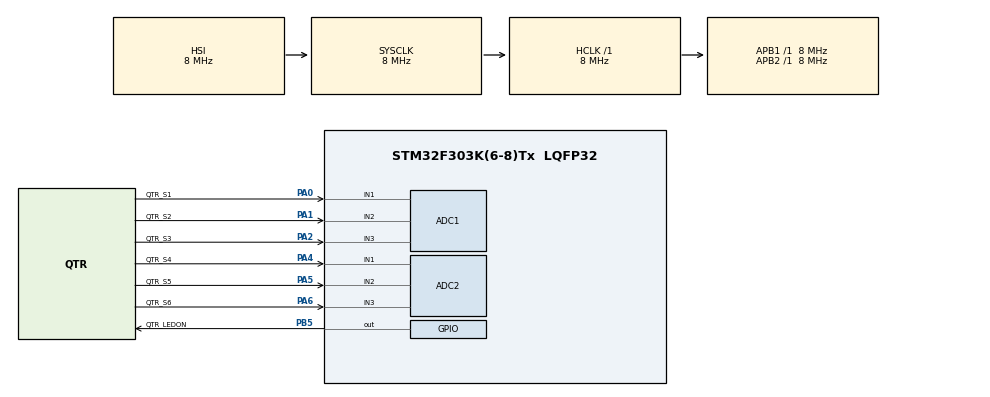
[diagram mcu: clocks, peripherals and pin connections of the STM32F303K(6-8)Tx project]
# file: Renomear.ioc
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ADC1.Channel-0\#ChannelRegularConversion=ADC_CHANNEL_1
ADC1.Channel-1\#ChannelRegularConversion=ADC_CHANNEL_2
ADC1.Channel-4\#ChannelRegularConversion=ADC_CHANNEL_3
ADC1.ClockPrescaler=ADC_CLOCK_ASYNC_DIV1
ADC1.DMAContinuousRequests=ENABLE
ADC1.EOCSelection=ADC_EOC_SEQ_CONV
ADC1.ExternalTrigConv=ADC_EXTERNALTRIGCONV_T2_TRGO
ADC1.InjNumberOfConversion=0
ADC1.NbrOfConversion=3
ADC1.NbrOfConversionFlag=1
ADC1.Offset-0\#ChannelRegularConversion=0
ADC1.Offset-1\#ChannelRegularConversion=0
ADC1.Offset-4\#ChannelRegularConversion=0
ADC1.OffsetNumber-0\#ChannelRegularConversion=ADC_OFFSET_NONE
ADC1.OffsetNumber-1\#ChannelRegularConversion=ADC_OFFSET_NONE
ADC1.OffsetNumber-4\#ChannelRegularConversion=ADC_OFFSET_NONE
ADC1.Rank-0\#ChannelRegularConversion=1
ADC1.Rank-1\#ChannelRegularConversion=2
ADC1.Rank-4\#ChannelRegularConversion=3
ADC1.SamplingTime-0\#ChannelRegularConversion=ADC_SAMPLETIME_181CYCLES_5
ADC1.SamplingTime-1\#ChannelRegularConversion=ADC_SAMPLETIME_181CYCLES_5
ADC1.SamplingTime-4\#ChannelRegularConversion=ADC_SAMPLETIME_181CYCLES_5
ADC1.SubFamily=STM32F303x8
ADC1.master=1
ADC2.Channel-0\#ChannelRegularConversion=ADC_CHANNEL_1
ADC2.Channel-1\#ChannelRegularConversion=ADC_CHANNEL_2
ADC2.Channel-5\#ChannelRegularConversion=ADC_CHANNEL_3
ADC2.DMAContinuousRequests=ENABLE
ADC2.EOCSelection=ADC_EOC_SEQ_CONV
ADC2.ExternalTrigConv=ADC_EXTERNALTRIGCONV_T2_TRGO
ADC2.NbrOfConversion=3
ADC2.NbrOfConversionFlag=1
ADC2.Offset-0\#ChannelRegularConversion=0
ADC2.Offset-1\#ChannelRegularConversion=0
ADC2.Offset-5\#ChannelRegularConversion=0
ADC2.OffsetNumber-0\#ChannelRegularConversion=ADC_OFFSET_NONE
ADC2.OffsetNumber-1\#ChannelRegularConversion=ADC_OFFSET_NONE
ADC2.OffsetNumber-5\#ChannelRegularConversion=ADC_OFFSET_NONE
ADC2.Rank-0\#ChannelRegularConversion=1
ADC2.Rank-1\#ChannelRegularConversion=2
ADC2.Rank-5\#ChannelRegularConversion=3
ADC2.SamplingTime-0\#ChannelRegularConversion=ADC_SAMPLETIME_181CYCLES_5
ADC2.SamplingTime-1\#ChannelRegularConversion=ADC_SAMPLETIME_181CYCLES_5
ADC2.SamplingTime-5\#ChannelRegularConversion=ADC_SAMPLETIME_181CYCLES_5
ADC2.SubFamily=STM32F303x8
Dma.ADC1.0.Direction=DMA_PERIPH_TO_MEMORY
Dma.ADC1.0.Instance=DMA1_Channel1
Dma.ADC1.0.MemDataAlignment=DMA_MDATAALIGN_WORD
Dma.ADC1.0.MemInc=DMA_MINC_ENABLE
Dma.ADC1.0.Mode=DMA_CIRCULAR
Dma.ADC1.0.PeriphDataAlignment=DMA_PDATAALIGN_WORD
Dma.ADC1.0.PeriphInc=DMA_PINC_DISABLE
Dma.ADC1.0.Priority=DMA_PRIORITY_LOW
Dma.ADC2.1.Direction=DMA_PERIPH_TO_MEMORY
Dma.ADC2.1.Instance=DMA1_Channel2
Dma.ADC2.1.MemDataAlignment=DMA_MDATAALIGN_WORD
Dma.ADC2.1.MemInc=DMA_MINC_ENABLE
Dma.ADC2.1.Mode=DMA_CIRCULAR
Dma.ADC2.1.PeriphDataAlignment=DMA_PDATAALIGN_WORD
Dma.ADC2.1.PeriphInc=DMA_PINC_DISABLE
Dma.ADC2.1.Priority=DMA_PRIORITY_LOW
Dma.Request0=ADC1
Dma.Request1=ADC2
Mcu.Family=STM32F3
Mcu.Name=STM32F303K(6-8)Tx
Mcu.Package=LQFP32
NVIC.ADC1_2_IRQn=true\:0\:0\:false\:false\:true\:true\:true
NVIC.DMA1_Channel1_IRQn=true\:0\:0\:false\:false\:true\:false\:true
NVIC.DMA1_Channel2_IRQn=true\:0\:0\:false\:false\:true\:false\:true
NVIC.PriorityGroup=NVIC_PRIORITYGROUP_4
PA0.GPIO_Label=QTR_S1
PA0.Mode=IN1-Single-Ended
PA0.Signal=ADC1_IN1
PA1.GPIO_Label=QTR_S2
PA1.Mode=IN2-Single-Ended
PA1.Signal=ADC1_IN2
PA2.GPIO_Label=QTR_S3
PA2.Mode=IN3-Single-Ended
PA2.Signal=ADC1_IN3
PA4.GPIO_Label=QTR_S4
PA4.Mode=IN1-Single-Ended
PA4.Signal=ADC2_IN1
PA5.GPIO_Label=QTR_S5
PA5.Mode=IN2-Single-Ended
PA5.Signal=ADC2_IN2
PA6.GPIO_Label=QTR_S6
PA6.Mode=IN3-Single-Ended
PA6.Signal=ADC2_IN3
PB5.GPIO_Label=QTR_LEDON
PB5.Signal=GPIO_Output
ProjectManager.HeapSize=0x200
ProjectManager.StackSize=0x400
ProjectManager.TargetToolchain=TrueSTUDIO
RCC.AHBFreq_Value=8000000
RCC.APB1Freq_Value=8000000
RCC.APB1TimFreq_Value=8000000
RCC.APB2Freq_Value=8000000
RCC.CortexFreq_Value=8000000
RCC.HSE_VALUE=8000000
RCC.HSI_VALUE=8000000
RCC.PLLMUL=RCC_PLL_MUL4
RCC.SYSCLKFreq_VALUE=8000000
TIM2.Period=500
TIM2.Prescaler=8
TIM2.TIM_MasterOutputTrigger=TIM_TRGO_UPDATE
VP_DAC1_Switcher_Out2.Mode=Switch_Disable_OUT2
VP_TIM2_VS_ClockSourceINT.Mode=Internal
board=custom

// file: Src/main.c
/* USER CODE BEGIN Header */
/**
  ******************************************************************************
  * @file           : main.c
  * @brief          : Main program body
  ******************************************************************************
  * @attention
  *
  * <h2><center>&copy; Copyright (c) 2019 STMicroelectronics.
  * All rights reserved.</center></h2>
  *
  * This software component is licensed by ST under BSD 3-Clause license,
  * the "License"; You may not use this file except in compliance with the
  * License. You may obtain a copy of the License at:
  *                        opensource.org/licenses/BSD-3-Clause
  *
  ******************************************************************************
  */
/* USER CODE END Header */

#include "main.h"

ADC_HandleTypeDef hadc1;
ADC_HandleTypeDef hadc2;
DMA_HandleTypeDef hdma_adc1;
DMA_HandleTypeDef hdma_adc2;

DAC_HandleTypeDef hdac1;

TIM_HandleTypeDef htim2;

/* USER CODE BEGIN PV */
uint8_t numSensors=6;
uint32_t sensorValues[6];

int lastValue = 0;
uint32_t maxValue = 4000;
const uint32_t lineValue = 200;
const uint32_t noiseThreshold = 50;

int readLine(uint32_t *sensorValues, uint8_t numSensors, uint8_t whiteLine)
{
	uint8_t onLine = 0;
	unsigned long avg = 0;
	unsigned int sum = 0;
	for(int i = 0; i < numSensors; i++)
	{
		uint32_t value = sensorValues[i];
		if(!whiteLine)
				value = maxValue - value;
		if(value > lineValue)
			onLine = 1;
		if(value > noiseThreshold)
		{
			avg += (unsigned long)(value)*((i+1)*1000);
			sum += value;
		}
	}
	if(!onLine)
	{
		if(lastValue < (numSensors*500))
			return 0;
		else
			return (numSensors*1000);
	}
	lastValue = avg/sum;
	return lastValue;
}
/* USER CODE END PV */

void SystemClock_Config(void);
static void MX_GPIO_Init(void);
static void MX_DMA_Init(void);
static void MX_ADC1_Init(void);
static void MX_TIM2_Init(void);
static void MX_ADC2_Init(void);
static void MX_DAC1_Init(void);

int main(void)
{

  /* MCU Configuration--------------------------------------------------------*/

  /* Reset of all peripherals, Initializes the Flash interface and the Systick. */
  HAL_Init();

  /* Configure the system clock */
  SystemClock_Config();

  /* Initialize all configured peripherals */
  MX_GPIO_Init();
  MX_DMA_Init();
  MX_ADC1_Init();
  MX_TIM2_Init();
  MX_ADC2_Init();
  MX_DAC1_Init();
  /* USER CODE BEGIN 2 */
  // Iniciar o timer
  HAL_TIM_Base_Start(&htim2);

  // Ativar o LEDON
  HAL_GPIO_WritePin(GPIOB, QTR_LEDON_Pin, SET);

  // Ativar o ADC1 com DMA
  HAL_ADC_Start_DMA(&hadc1, &sensorValues[0], 3);

  // Ativar o ADC2 com DMA
  HAL_ADC_Start_DMA(&hadc2, &sensorValues[3], 3);

  int pos = 0;

  /* USER CODE END 2 */

  /* Infinite loop */
  while (1)
  {
	  pos = readLine(sensorValues, numSensors, 1);
  }
}

void SystemClock_Config(void)
{
  RCC_OscInitTypeDef RCC_OscInitStruct = {0};
  RCC_ClkInitTypeDef RCC_ClkInitStruct = {0};
  RCC_PeriphCLKInitTypeDef PeriphClkInit = {0};

  /** Initializes the CPU, AHB and APB busses clocks
  */
  RCC_OscInitStruct.OscillatorType = RCC_OSCILLATORTYPE_HSI;
  RCC_OscInitStruct.HSIState = RCC_HSI_ON;
  RCC_OscInitStruct.HSICalibrationValue = RCC_HSICALIBRATION_DEFAULT;
  RCC_OscInitStruct.PLL.PLLState = RCC_PLL_ON;
  RCC_OscInitStruct.PLL.PLLSource = RCC_PLLSOURCE_HSI;
  RCC_OscInitStruct.PLL.PLLMUL = RCC_PLL_MUL4;
  if (HAL_RCC_OscConfig(&RCC_OscInitStruct) != HAL_OK)
  {
    Error_Handler();
  }
  /** Initializes the CPU, AHB and APB busses clocks
  */
  RCC_ClkInitStruct.ClockType = RCC_CLOCKTYPE_HCLK|RCC_CLOCKTYPE_SYSCLK
                              |RCC_CLOCKTYPE_PCLK1|RCC_CLOCKTYPE_PCLK2;
  RCC_ClkInitStruct.SYSCLKSource = RCC_SYSCLKSOURCE_HSI;
  RCC_ClkInitStruct.AHBCLKDivider = RCC_SYSCLK_DIV1;
  RCC_ClkInitStruct.APB1CLKDivider = RCC_HCLK_DIV1;
  RCC_ClkInitStruct.APB2CLKDivider = RCC_HCLK_DIV1;

  if (HAL_RCC_ClockConfig(&RCC_ClkInitStruct, FLASH_LATENCY_0) != HAL_OK)
  {
    Error_Handler();
  }
  PeriphClkInit.PeriphClockSelection = RCC_PERIPHCLK_ADC12;
  PeriphClkInit.Adc12ClockSelection = RCC_ADC12PLLCLK_DIV1;
  if (HAL_RCCEx_PeriphCLKConfig(&PeriphClkInit) != HAL_OK)
  {
    Error_Handler();
  }
}

static void MX_ADC1_Init(void)
{

  ADC_MultiModeTypeDef multimode = {0};
  ADC_ChannelConfTypeDef sConfig = {0};

  /** Common config
  */
  hadc1.Instance = ADC1;
  hadc1.Init.ClockPrescaler = ADC_CLOCK_ASYNC_DIV1;
  hadc1.Init.Resolution = ADC_RESOLUTION_12B;
  hadc1.Init.ScanConvMode = ADC_SCAN_ENABLE;
  hadc1.Init.ContinuousConvMode = DISABLE;
  hadc1.Init.DiscontinuousConvMode = DISABLE;
  hadc1.Init.ExternalTrigConvEdge = ADC_EXTERNALTRIGCONVEDGE_RISING;
  hadc1.Init.ExternalTrigConv = ADC_EXTERNALTRIGCONV_T2_TRGO;
  hadc1.Init.DataAlign = ADC_DATAALIGN_RIGHT;
  hadc1.Init.NbrOfConversion = 3;
  hadc1.Init.DMAContinuousRequests = ENABLE;
  hadc1.Init.EOCSelection = ADC_EOC_SEQ_CONV;
  hadc1.Init.LowPowerAutoWait = DISABLE;
  hadc1.Init.Overrun = ADC_OVR_DATA_OVERWRITTEN;
  if (HAL_ADC_Init(&hadc1) != HAL_OK)
  {
    Error_Handler();
  }
  /** Configure the ADC multi-mode
  */
  multimode.Mode = ADC_MODE_INDEPENDENT;
  if (HAL_ADCEx_MultiModeConfigChannel(&hadc1, &multimode) != HAL_OK)
  {
    Error_Handler();
  }
  /** Configure Regular Channel
  */
  sConfig.Channel = ADC_CHANNEL_1;
  sConfig.Rank = ADC_REGULAR_RANK_1;
  sConfig.SingleDiff = ADC_SINGLE_ENDED;
  sConfig.SamplingTime = ADC_SAMPLETIME_181CYCLES_5;
  sConfig.OffsetNumber = ADC_OFFSET_NONE;
  sConfig.Offset = 0;
  if (HAL_ADC_ConfigChannel(&hadc1, &sConfig) != HAL_OK)
  {
    Error_Handler();
  }
  /** Configure Regular Channel
  */
  sConfig.Channel = ADC_CHANNEL_2;
  sConfig.Rank = ADC_REGULAR_RANK_2;
  if (HAL_ADC_ConfigChannel(&hadc1, &sConfig) != HAL_OK)
  {
    Error_Handler();
  }
  /** Configure Regular Channel
  */
  sConfig.Channel = ADC_CHANNEL_3;
  sConfig.Rank = ADC_REGULAR_RANK_3;
  if (HAL_ADC_ConfigChannel(&hadc1, &sConfig) != HAL_OK)
  {
    Error_Handler();
  }

}

static void MX_ADC2_Init(void)
{

  ADC_ChannelConfTypeDef sConfig = {0};

  /** Common config
  */
  hadc2.Instance = ADC2;
  hadc2.Init.ClockPrescaler = ADC_CLOCK_ASYNC_DIV1;
  hadc2.Init.Resolution = ADC_RESOLUTION_12B;
  hadc2.Init.ScanConvMode = ADC_SCAN_ENABLE;
  hadc2.Init.ContinuousConvMode = DISABLE;
  hadc2.Init.DiscontinuousConvMode = DISABLE;
  hadc2.Init.ExternalTrigConvEdge = ADC_EXTERNALTRIGCONVEDGE_RISING;
  hadc2.Init.ExternalTrigConv = ADC_EXTERNALTRIGCONV_T2_TRGO;
  hadc2.Init.DataAlign = ADC_DATAALIGN_RIGHT;
  hadc2.Init.NbrOfConversion = 3;
  hadc2.Init.DMAContinuousRequests = ENABLE;
  hadc2.Init.EOCSelection = ADC_EOC_SEQ_CONV;
  hadc2.Init.LowPowerAutoWait = DISABLE;
  hadc2.Init.Overrun = ADC_OVR_DATA_OVERWRITTEN;
  if (HAL_ADC_Init(&hadc2) != HAL_OK)
  {
    Error_Handler();
  }
  /** Configure Regular Channel
  */
  sConfig.Channel = ADC_CHANNEL_1;
  sConfig.Rank = ADC_REGULAR_RANK_1;
  sConfig.SingleDiff = ADC_SINGLE_ENDED;
  sConfig.SamplingTime = ADC_SAMPLETIME_181CYCLES_5;
  sConfig.OffsetNumber = ADC_OFFSET_NONE;
  sConfig.Offset = 0;
  if (HAL_ADC_ConfigChannel(&hadc2, &sConfig) != HAL_OK)
  {
    Error_Handler();
  }
  /** Configure Regular Channel
  */
  sConfig.Channel = ADC_CHANNEL_2;
  sConfig.Rank = ADC_REGULAR_RANK_2;
  if (HAL_ADC_ConfigChannel(&hadc2, &sConfig) != HAL_OK)
  {
    Error_Handler();
  }
  /** Configure Regular Channel
  */
  sConfig.Channel = ADC_CHANNEL_3;
  sConfig.Rank = ADC_REGULAR_RANK_3;
  if (HAL_ADC_ConfigChannel(&hadc2, &sConfig) != HAL_OK)
  {
    Error_Handler();
  }

}

static void MX_DAC1_Init(void)
{

  DAC_ChannelConfTypeDef sConfig = {0};

  /** DAC Initialization
  */
  hdac1.Instance = DAC1;
  if (HAL_DAC_Init(&hdac1) != HAL_OK)
  {
    Error_Handler();
  }
  /** DAC channel OUT2 config
  */
  sConfig.DAC_Trigger = DAC_TRIGGER_NONE;
  sConfig.DAC_OutputSwitch = DAC_OUTPUTSWITCH_DISABLE;
  if (HAL_DAC_ConfigChannel(&hdac1, &sConfig, DAC_CHANNEL_2) != HAL_OK)
  {
    Error_Handler();
  }

}

static void MX_TIM2_Init(void)
{

  TIM_ClockConfigTypeDef sClockSourceConfig = {0};
  TIM_MasterConfigTypeDef sMasterConfig = {0};

  htim2.Instance = TIM2;
  htim2.Init.Prescaler = 8;
  htim2.Init.CounterMode = TIM_COUNTERMODE_UP;
  htim2.Init.Period = 500;
  htim2.Init.ClockDivision = TIM_CLOCKDIVISION_DIV1;
  htim2.Init.AutoReloadPreload = TIM_AUTORELOAD_PRELOAD_DISABLE;
  if (HAL_TIM_Base_Init(&htim2) != HAL_OK)
  {
    Error_Handler();
  }
  sClockSourceConfig.ClockSource = TIM_CLOCKSOURCE_INTERNAL;
  if (HAL_TIM_ConfigClockSource(&htim2, &sClockSourceConfig) != HAL_OK)
  {
    Error_Handler();
  }
  sMasterConfig.MasterOutputTrigger = TIM_TRGO_UPDATE;
  sMasterConfig.MasterSlaveMode = TIM_MASTERSLAVEMODE_DISABLE;
  if (HAL_TIMEx_MasterConfigSynchronization(&htim2, &sMasterConfig) != HAL_OK)
  {
    Error_Handler();
  }

}

static void MX_DMA_Init(void)
{
  /* DMA controller clock enable */
  __HAL_RCC_DMA1_CLK_ENABLE();

  /* DMA interrupt init */
  /* DMA1_Channel1_IRQn interrupt configuration */
  HAL_NVIC_SetPriority(DMA1_Channel1_IRQn, 0, 0);
  HAL_NVIC_EnableIRQ(DMA1_Channel1_IRQn);
  /* DMA1_Channel2_IRQn interrupt configuration */
  HAL_NVIC_SetPriority(DMA1_Channel2_IRQn, 0, 0);
  HAL_NVIC_EnableIRQ(DMA1_Channel2_IRQn);

}

static void MX_GPIO_Init(void)
{
  GPIO_InitTypeDef GPIO_InitStruct = {0};

  /* GPIO Ports Clock Enable */
  __HAL_RCC_GPIOA_CLK_ENABLE();
  __HAL_RCC_GPIOB_CLK_ENABLE();

  /*Configure GPIO pin Output Level */
  HAL_GPIO_WritePin(QTR_LEDON_GPIO_Port, QTR_LEDON_Pin, GPIO_PIN_RESET);

  /*Configure GPIO pin : QTR_LEDON_Pin */
  GPIO_InitStruct.Pin = QTR_LEDON_Pin;
  GPIO_InitStruct.Mode = GPIO_MODE_OUTPUT_PP;
  GPIO_InitStruct.Pull = GPIO_NOPULL;
  GPIO_InitStruct.Speed = GPIO_SPEED_FREQ_LOW;
  HAL_GPIO_Init(QTR_LEDON_GPIO_Port, &GPIO_InitStruct);

}

/* USER CODE BEGIN 4 */
// Interrup��o de final de convers�o
void HAL_ADC_ConvCpltCallback(ADC_HandleTypeDef* hadc)
{
  /* Prevent unused argument(s) compilation warning */
  UNUSED(hadc);

  /* NOTE : This function should not be modified. When the callback is needed,
            function HAL_ADC_ConvCpltCallback must be implemented in the user file.
   */
}
/* USER CODE END 4 */

void Error_Handler(void)
{
}

/************************ (C) COPYRIGHT STMicroelectronics *****END OF FILE****/
